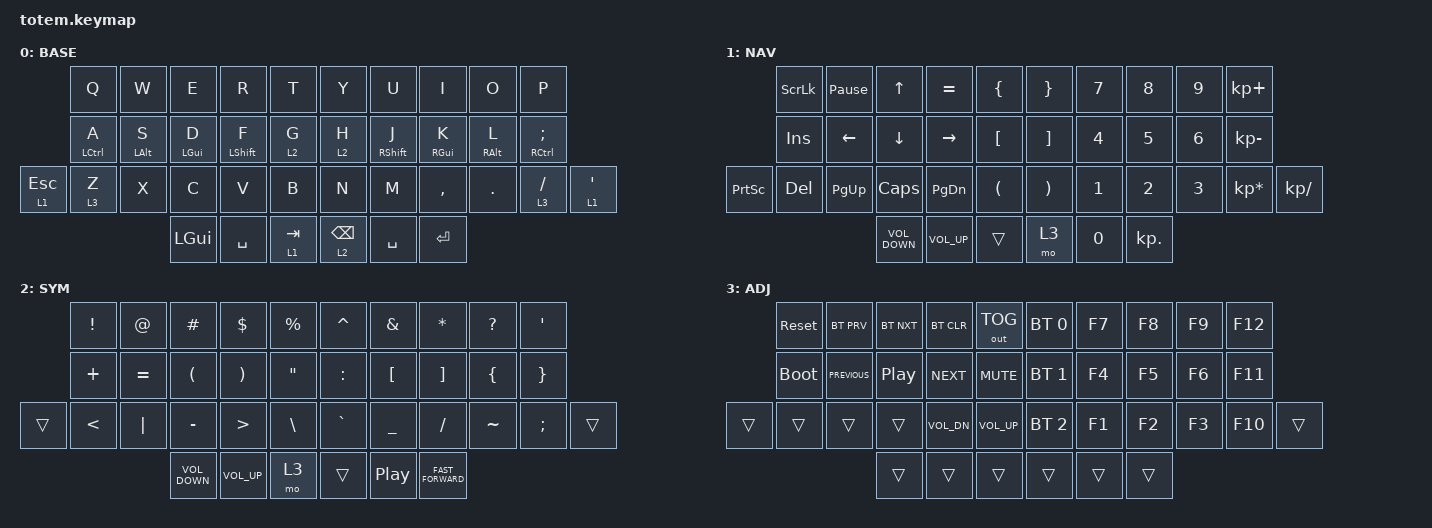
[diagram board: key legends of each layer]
#include <dt-bindings/zmk/behaviors.h>
#include <behaviors.dtsi>
#include <dt-bindings/zmk/bt.h>
#include <dt-bindings/zmk/keys.h>
#include <dt-bindings/zmk/outputs.h>

#define BASE 0
#define NAV  1
#define SYM  2
#define ADJ  3

&lt {
    tapping-term-ms = <170>;
    quick-tap-ms = <200>;
    flavor = "tap-preferred";
};

&mt {
    tapping-term-ms = <170>;
    quick-tap-ms = <200>;
    flavor = "tap-preferred";
};

/ {
    combos {
        compatible = "zmk,combos";

        combo_esc {
            timeout-ms = <50>;
            key-positions = <0 1>;
            bindings = <&kp ESC>;
        };
    };

    keymap {
        compatible = "zmk,keymap";

        base_layer {
            label = "BASE";
            bindings = <
           &kp Q        &kp W       &kp E       &kp R        &kp T        &kp Y            &kp U        &kp I       &kp O       &kp P
           &mt LCTRL A  &mt LALT S  &mt LGUI D  &mt LSHFT F  &lt 2 G      &lt 2 H          &mt RSHFT J  &mt RGUI K  &mt RALT L  &mt RCTRL SEMI
&lt 1 ESC  &lt 3 Z      &kp X       &kp C       &kp V        &kp B        &kp N            &kp M        &kp COMMA   &kp DOT     &lt 3 FSLH      &lt 1 SQT
                                    &kp LGUI    &kp SPACE    &lt 1 TAB    &lt 2 BACKSPACE  &kp SPACE    &kp ENTER
            >;
        };

        nav_layer {
            label = "NAV";
            bindings = <
                 &kp SCROLLLOCK  &kp PAUSE_BREAK  &kp UP             &kp EQUAL        &kp LBRC    &kp RBRC  &kp N7  &kp N8      &kp N9  &kp KP_PLUS
                 &kp INSERT      &kp LEFT         &kp DOWN           &kp RIGHT        &kp LBKT    &kp RBKT  &kp N4  &kp N5      &kp N6  &kp KP_MINUS
&kp PRINTSCREEN  &kp DEL         &kp PG_UP        &kp CAPS           &kp PG_DN        &kp LPAR    &kp RPAR  &kp N1  &kp N2      &kp N3  &kp KP_MULTIPLY  &kp KP_DIVIDE
                                                  &kp C_VOLUME_DOWN  &kp C_VOLUME_UP  &trans      &mo 3     &kp N0  &kp KP_DOT
            >;
        };

        sim_layer {
            label = "SYM";
            bindings = <
        &kp EXCL       &kp AT     &kp HASH              &kp DLLR               &kp PRCNT        &kp CARET  &kp AMPS          &kp STAR            &kp QUESTION    &kp SINGLE_QUOTE
        &kp PLUS       &kp EQUAL  &kp LEFT_PARENTHESIS  &kp RIGHT_PARENTHESIS  &kp DQT          &kp COLON  &kp LEFT_BRACKET  &kp RIGHT_BRACKET   &kp LEFT_BRACE  &kp RIGHT_BRACE
&trans  &kp LESS_THAN  &kp PIPE   &kp MINUS             &kp GREATER_THAN       &kp BACKSLASH    &kp GRAVE  &kp UNDERSCORE    &kp SLASH           &kp TILDE       &kp SEMICOLON     &trans
                                  &kp C_VOLUME_DOWN     &kp C_VOLUME_UP        &mo 3            &trans     &kp C_PLAY_PAUSE  &kp C_FAST_FORWARD
            >;
        };

        adjust_layer {
            label = "ADJ";
            bindings = <
        &sys_reset   &bt BT_PRV      &bt BT_NXT        &bt BT_CLR    &out OUT_TOG    &bt BT_SEL 0  &kp F7  &kp F8  &kp F9  &kp F12
        &bootloader  &kp C_PREVIOUS  &kp C_PLAY_PAUSE  &kp C_NEXT    &kp C_MUTE      &bt BT_SEL 1  &kp F4  &kp F5  &kp F6  &kp F11
&trans  &trans       &trans          &trans            &kp C_VOL_DN  &kp C_VOL_UP    &bt BT_SEL 2  &kp F1  &kp F2  &kp F3  &kp F10  &trans
                                     &trans            &trans        &trans          &trans        &trans  &trans
            >;
        };
    };
};
